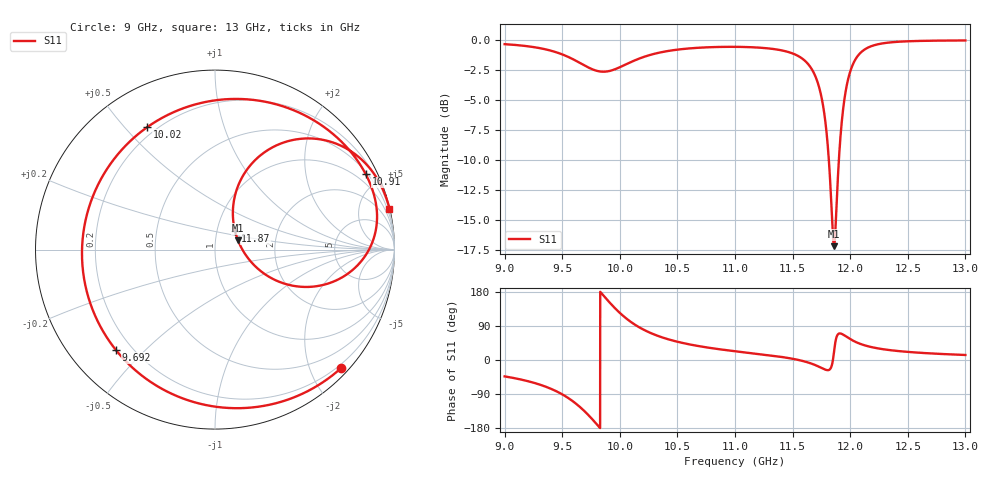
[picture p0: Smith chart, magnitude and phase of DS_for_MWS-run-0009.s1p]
! TOUCHSTONE file generated by CST DESIGN STUDIO
! Date and time: Tue Feb  4 17:48:23 2025
! Project name: C:\Work\MatlabApps\UnitCellOptimizationMatlab\CST\unitcell.cst
! Tree item: Tasks\Sweep1\SPara1\S-Parameters
! Header version: 2024
! Port assignment regex: !\s*Touchstone port\s*([0-9]+)\s*=\s*(CST MWS port|CST DES external port|CST DES block port)\s*(.+)\s* \(\"(.*)\"\)(\s*mode\s*([0-9]+))?.*
! Touchstone port assignment:
! Touchstone port 1 = CST DES external port 1 ("")
# GHz S MA R 50
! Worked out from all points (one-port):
!   4001 points, 9 GHz to 13 GHz, reference 50 ohm
!   lowest |S11| = -17.2 dB at 11.86 GHz (marker M1), VSWR 1.32, Z = 64.2 + j6.89 ohm
!   |S11| at or under -10 dB: 11.81 GHz to 11.9 GHz (86.98 MHz wide, 0.733 % of centre)
!   S11 on the Smith chart (normalised r, x): 9 GHz: 0.14, -2.52; 9.692 GHz: 0.14, -0.41; 10.02 GHz: 0.17, +0.58; 10.91 GHz: 0.59, +4.17; 11.87 GHz: 1.22, +0.26; 13 GHz: 0.05, +8.62
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9  0.9638 -43.3
9.276  0.933 -62.1
9.5  0.8736 -90.6
9.601  0.8303 -110.8
9.692  0.786 -134.6
9.771  0.7537 -159.6
9.841  0.7399 176.1
9.913  0.7451 151.2
10  0.772 124.3
10.02  0.7799 118.8
10.194  0.8477 82.0
10.337  0.887 62.9
10.5  0.9143 48.2
10.911  0.9391 26.5
11  0.9393 23.1
11.5  0.8814 3.2
11.643  0.7869 -7.4
11.742  0.605 -19.6
11.805  0.364 -26.9
11.845  0.1697 -8.5
11.86  0.1381 22.4
11.869  0.1523 42.9
11.929  0.4679 68.6
12  0.7402 55.2
12.081  0.8783 43.3
12.177  0.9428 34.6
12.5  0.9908 21.4
13  0.9987 13.2
